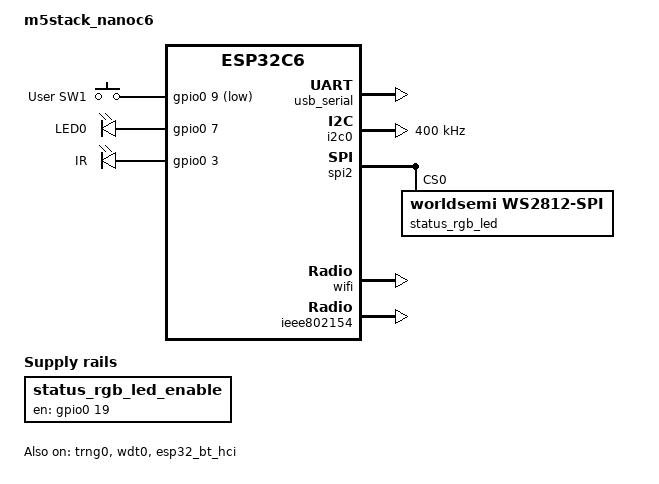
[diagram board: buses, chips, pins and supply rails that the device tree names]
/*
 * Copyright (c) 2023 Espressif Systems (Shanghai) Co., Ltd.
 *
 * SPDX-License-Identifier: Apache-2.0
 */

/dts-v1/;

#include <espressif/esp32c6/esp32c6_wroom_n4.dtsi>
#include "m5stack_nanoc6_hpcore-pinctrl.dtsi"
#include "grove_connectors.dtsi"
#include <zephyr/dt-bindings/input/input-event-codes.h>
#include <espressif/partitions_0x0_default.dtsi>
#include <zephyr/dt-bindings/led/led.h>
#include <zephyr/dt-bindings/led/worldsemi_ws2812c.h>

/ {
	model = "m5stack_nanoc6";
	compatible = "m5stack,nanoc6";

	chosen {
		zephyr,sram = &sramhp;
		zephyr,console = &usb_serial;
		zephyr,shell-uart = &usb_serial;
		zephyr,flash = &flash0;
		zephyr,code-partition = &slot0_partition;
		zephyr,ieee802154 = &ieee802154;
	};

	aliases {
		sw0 = &user_button1;
		watchdog0 = &wdt0;
		led0 = &blue_led;
		led-strip = &status_rgb_led;
	};

	gpio_keys {
		compatible = "gpio-keys";

		user_button1: button_1 {
			label = "User SW1";
			gpios = <&gpio0 9 (GPIO_PULL_UP | GPIO_ACTIVE_LOW)>;
			zephyr,code = <INPUT_KEY_0>;
		};
	};

	leds {
		compatible = "gpio-leds";

		blue_led: led_0 {
			gpios = <&gpio0 7 GPIO_ACTIVE_HIGH>;
			label = "LED0";
		};

		ir_led: led_1 {
			gpios = <&gpio0 3 GPIO_ACTIVE_HIGH>;
			label = "IR";
		};
	};

	status_rgb_led_en {
		compatible = "regulator-fixed";
		regulator-name = "status_rgb_led_enable";
		enable-gpios = <&gpio0 19 GPIO_ACTIVE_HIGH>;
		regulator-boot-on;
	};
};

&usb_serial {
	status = "okay";
};

&trng0 {
	status = "okay";
};

&i2c0 {
	status = "okay";
	clock-frequency = <I2C_BITRATE_FAST>;
	pinctrl-0 = <&i2c0_default>;
	pinctrl-names = "default";
};

&spi2 {
	#address-cells = <1>;
	#size-cells = <0>;
	status = "okay";
	line-idle-low;
	pinctrl-0 = <&spim2_ws2812_led>;
	pinctrl-names = "default";

	status_rgb_led: ws2812@0 {
		compatible = "worldsemi,ws2812-spi";
		reg = <0>;
		spi-max-frequency = <WS2812C_SPI_FREQ>;

		chain-length = <1>;
		color-mapping = <LED_COLOR_ID_GREEN>,
				<LED_COLOR_ID_RED>,
				<LED_COLOR_ID_BLUE>;
		spi-one-frame = <WS2812C_ONE_FRAME>;
		spi-zero-frame = <WS2812C_ZERO_FRAME>;
	};
};

&gpio0 {
	status = "okay";
};

&wdt0 {
	status = "okay";
};

&wifi {
	status = "okay";
};

&ieee802154 {
	status = "okay";
};

&esp32_bt_hci {
	status = "okay";
};
